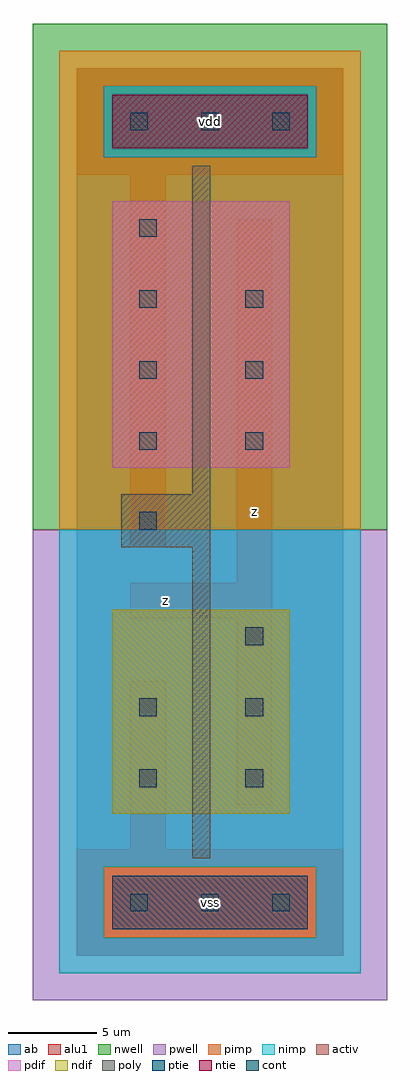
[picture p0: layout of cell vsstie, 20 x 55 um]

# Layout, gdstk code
import gdstk
lib = gdstk.Library(unit=1e-6, precision=1e-09)
def R(c, l, rs):  # rectangles x0, y0, x1, y1
    for r in rs: c.add(gdstk.rectangle(r[:2], r[2:], *l))
def A(c, l, x, y, w, h, nx, ny, dx, dy):  # array of equal rectangles
    R(c, l, [(x+i*dx, y+j*dy, x+i*dx+w, y+j*dy+h) for i in range(nx) for j in range(ny)])
ndif = (3, 0)
pdif = (4, 0)
ntie = (5, 0)
ptie = (6, 0)
cont = (25, 0)
pwell = (41, 0)
nwell = (42, 0)
activ = (43, 0)
pimp = (44, 0)
nimp = (45, 0)
poly = (46, 0)
alu1 = (49, 0)
ab = (63, 0)

vsstie = lib.new_cell('vsstie')
R(vsstie, ndif, [(2,8,12,19.5)])
R(vsstie, pdif, [(2,27.5,12,42.5)])
R(vsstie, ntie, [(2,45.5,13,48.5)])
R(vsstie, ptie, [(2,1.5,13,4.5)])
A(vsstie, cont, 3, 2.5, 1, 1, 3, 2, 4, 44)
A(vsstie, cont, 9.5, 9.5, 1, 1, 1, 3, 0, 4)
A(vsstie, cont, 3.5, 28.5, 1, 1, 1, 4, 0, 4)
A(vsstie, cont, 9.5, 28.5, 1, 1, 1, 3, 0, 4)
R(vsstie, cont, [(3.5,9.5,4.5,10.5), (3.5,13.5,4.5,14.5), (3.5,24,4.5,25)])
R(vsstie, pwell, [(-2.5,-2.5,17.5,24)])
R(vsstie, nwell, [(-2.5,24,17.5,52.5)])
R(vsstie, activ, [(2,1.5,13,4.5), (2,8,12,19.5), (2,27.5,12,42.5), (2,45.5,13,48.5)])
R(vsstie, pimp, [(1.5,1,13.5,5), (-1,24,16,45), (-1,45,1.5,49), (13.5,45,16,49), (-1,49,16,51)])
R(vsstie, nimp, [(-1,-1,16,1), (-1,1,1.5,5), (13.5,1,16,5), (-1,5,16,24), (1.5,45,13.5,49)])
R(vsstie, poly, [(6.5,5.5,7.5,23), (2.5,23,7.5,26), (6.5,26,7.5,44.5)])
R(vsstie, alu1, [(0,0,15,6), (0,0,15,6), (3,6,5,15.5), (3,6,5,15.5), (9,8.5,11,19), (9,8.5,11,19), (3,19,11,21), (3,19,11,21), (9,21,11,41.5), (9,21,11,41.5), (3,23,5,44), (3,23,5,44), (0,44,15,50), (0,44,15,50)])
R(vsstie, ab, [(0,0,15,50)])
vsstie.add(gdstk.Label('vss', (7.5,3), layer=49, texttype=0))
vsstie.add(gdstk.Label('z', (5,20), layer=49, texttype=0))
vsstie.add(gdstk.Label('vdd', (7.5,47), layer=49, texttype=0))
vsstie.add(gdstk.Label('z', (10,25), layer=49, texttype=0))

lib.write_gds('vsstie.gds')
